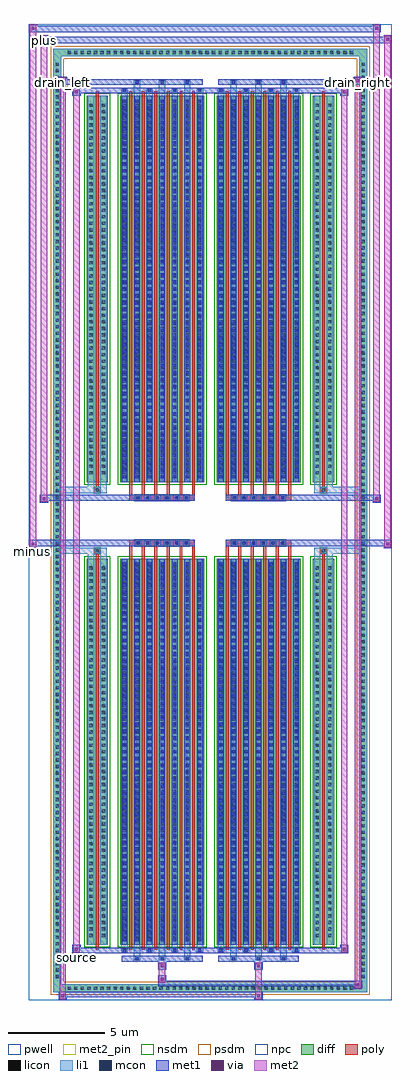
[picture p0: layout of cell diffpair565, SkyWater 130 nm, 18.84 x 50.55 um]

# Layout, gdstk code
import gdstk
lib = gdstk.Library(unit=1e-6, precision=5e-09)
def R(c, l, rs):  # rectangles x0, y0, x1, y1
    for r in rs: c.add(gdstk.rectangle(r[:2], r[2:], *l))
def A(c, l, x, y, w, h, nx, ny, dx, dy):  # array of equal rectangles
    R(c, l, [(x+i*dx, y+j*dy, x+i*dx+w, y+j*dy+h) for i in range(nx) for j in range(ny)])
def P(c, l, *ps):  # polygons
    for p in ps: c.add(gdstk.Polygon(p, *l))
pwell = (64, 44)
diff = (65, 20)
poly = (66, 20)
licon = (66, 44)
li1 = (67, 20)
mcon = (67, 44)
met1 = (68, 20)
via = (68, 44)
met2_pin = (69, 16)
met2 = (69, 20)
nsdm = (93, 44)
psdm = (94, 20)
npc = (95, 20)

diffpair565 = lib.new_cell('diffpair565')
R(diffpair565, pwell, [(-9.4,-24.84,9.4,25.71), (-6.72,-23.03,-0.01,-0.805), (0.01,-23.03,6.72,-0.805), (-6.72,0.805,-0.01,23.03), (0.01,0.805,6.72,23.03)])
A(diffpair565, diff, -7.515, -24.44, 0.41, 0.41, 44, 2, 0.34, 48.47)
A(diffpair565, diff, -8.13, -23.835, 0.41, 0.41, 1, 140, 0, 0.34)
A(diffpair565, diff, 7.72, -23.835, 0.41, 0.41, 1, 140, 0, 0.34)
R(diffpair565, diff, [(-7.515,-24.44,7.515,-24.03), (-8.13,-23.835,-7.72,23.835), (7.72,-23.835,8.13,23.835), (-6.41,-21.985,-5.31,-1.985), (-4.67,-21.985,-0.32,-1.985), (0.32,-21.985,4.67,-1.985), (5.31,-21.985,6.41,-1.985), (-6.41,1.985,-5.31,21.985), (-4.67,1.985,-0.32,21.985), (0.32,1.985,4.67,21.985), (5.31,1.985,6.41,21.985), (-7.515,24.03,7.515,24.44)])
P(diffpair565, diff, [(8.13,24.44),(-8.13,24.44),(-8.13,-24.03),(-7.72,-24.03),(-7.72,24.03),(7.72,24.03),(7.72,-24.03),(-7.72,-24.03),(-8.13,-24.03),(-8.13,-24.44),(8.13,-24.44)])
A(diffpair565, poly, -4.195, -22.235, 0.15, 20.5, 6, 2, 0.65, 23.97)
A(diffpair565, poly, 0.795, -22.235, 0.15, 20.5, 6, 2, 0.65, 23.97)
A(diffpair565, poly, -4.195, -1.735, 0.15, 0.4, 6, 2, 0.65, 3.07)
A(diffpair565, poly, 0.795, -1.735, 0.15, 0.4, 6, 2, 0.65, 3.07)
A(diffpair565, poly, -3.91, -1.335, 0.33, 0.33, 6, 2, 0.5, 2.34)
A(diffpair565, poly, 1.08, -1.335, 0.33, 0.33, 6, 2, 0.5, 2.34)
R(diffpair565, poly, [(-5.935,-22.235,-5.785,-1.735), (5.785,-22.235,5.935,-1.735), (-6.025,-1.735,-5.695,-1.405), (-6.025,-1.735,-5.695,-1.405), (5.695,-1.735,6.025,-1.405), (5.695,-1.735,6.025,-1.405), (-4.195,-1.335,-0.795,-1.005), (0.795,-1.335,4.195,-1.005), (-4.195,1.005,-0.795,1.335), (0.795,1.005,4.195,1.335), (-6.025,1.405,-5.695,1.735), (-6.025,1.405,-5.695,1.735), (5.695,1.405,6.025,1.735), (5.695,1.405,6.025,1.735), (-5.935,1.735,-5.785,22.235), (5.785,1.735,5.935,22.235)])
A(diffpair565, licon, -7.395, -24.32, 0.17, 0.17, 44, 2, 0.34, 48.47)
A(diffpair565, licon, -8.01, -23.715, 0.17, 0.17, 1, 140, 0, 0.34)
A(diffpair565, licon, 7.84, -23.715, 0.17, 0.17, 1, 140, 0, 0.34)
A(diffpair565, licon, -6.27, -21.59, 0.17, 0.17, 1, 57, 0, 0.34)
A(diffpair565, licon, -5.62, -21.59, 0.17, 0.17, 1, 57, 0, 0.34)
A(diffpair565, licon, -4.53, -21.59, 0.17, 0.17, 7, 57, 0.65, 0.34)
A(diffpair565, licon, 0.46, -21.59, 0.17, 0.17, 7, 57, 0.65, 0.34)
A(diffpair565, licon, 5.45, -21.59, 0.17, 0.17, 1, 57, 0, 0.34)
A(diffpair565, licon, 6.1, -21.59, 0.17, 0.17, 1, 57, 0, 0.34)
A(diffpair565, licon, -3.83, -1.255, 0.17, 0.17, 6, 2, 0.5, 2.34)
A(diffpair565, licon, 1.16, -1.255, 0.17, 0.17, 6, 2, 0.5, 2.34)
A(diffpair565, licon, -6.27, 2.38, 0.17, 0.17, 1, 57, 0, 0.34)
A(diffpair565, licon, -5.62, 2.38, 0.17, 0.17, 1, 57, 0, 0.34)
A(diffpair565, licon, -4.53, 2.38, 0.17, 0.17, 7, 57, 0.65, 0.34)
A(diffpair565, licon, 0.46, 2.38, 0.17, 0.17, 7, 57, 0.65, 0.34)
A(diffpair565, licon, 5.45, 2.38, 0.17, 0.17, 1, 57, 0, 0.34)
A(diffpair565, licon, 6.1, 2.38, 0.17, 0.17, 1, 57, 0, 0.34)
R(diffpair565, licon, [(-5.945,-1.655,-5.775,-1.485), (5.775,-1.655,5.945,-1.485), (-5.945,1.485,-5.775,1.655), (5.775,1.485,5.945,1.655)])
A(diffpair565, li1, -7.475, -24.4, 0.33, 0.33, 44, 2, 0.34, 48.47)
A(diffpair565, li1, -8.09, -23.795, 0.33, 0.33, 1, 140, 0, 0.34)
A(diffpair565, li1, 7.76, -23.795, 0.33, 0.33, 1, 140, 0, 0.34)
A(diffpair565, li1, -3.96, -22.79, 0.33, 0.805, 3, 2, 1.3, 44.775)
A(diffpair565, li1, -3.88, -22.79, 0.17, 0.17, 3, 2, 1.3, 45.41)
A(diffpair565, li1, 1.03, -22.79, 0.33, 0.805, 3, 2, 1.3, 44.775)
A(diffpair565, li1, 1.11, -22.79, 0.17, 0.17, 3, 2, 1.3, 45.41)
A(diffpair565, li1, -4.61, -22.36, 0.33, 0.375, 4, 2, 1.3, 44.345)
A(diffpair565, li1, -4.53, -22.36, 0.17, 0.17, 4, 2, 1.3, 44.55)
A(diffpair565, li1, 0.38, -22.36, 0.33, 0.375, 4, 2, 1.3, 44.345)
A(diffpair565, li1, 0.46, -22.36, 0.17, 0.17, 4, 2, 1.3, 44.55)
A(diffpair565, li1, -4.61, -21.985, 0.33, 20, 7, 2, 0.65, 23.97)
A(diffpair565, li1, 0.38, -21.985, 0.33, 20, 7, 2, 0.65, 23.97)
A(diffpair565, li1, -4.53, -21.79, 0.17, 0.17, 7, 55, 0.65, 0.36)
A(diffpair565, li1, -4.53, -21.79, 0.17, 19.61, 7, 2, 0.65, 23.97)
A(diffpair565, li1, 0.46, -21.79, 0.17, 0.17, 7, 55, 0.65, 0.36)
A(diffpair565, li1, 0.46, -21.79, 0.17, 19.61, 7, 2, 0.65, 23.97)
A(diffpair565, li1, -6.35, -21.67, 0.33, 0.33, 1, 57, 0, 0.34)
A(diffpair565, li1, -5.7, -21.67, 0.33, 0.33, 1, 57, 0, 0.34)
A(diffpair565, li1, -4.61, -21.67, 0.33, 0.33, 7, 57, 0.65, 0.34)
A(diffpair565, li1, 0.38, -21.67, 0.33, 0.33, 7, 57, 0.65, 0.34)
A(diffpair565, li1, 5.37, -21.67, 0.33, 0.33, 1, 57, 0, 0.34)
A(diffpair565, li1, 6.02, -21.67, 0.33, 0.33, 1, 57, 0, 0.34)
A(diffpair565, li1, -3.91, -1.335, 0.33, 0.33, 6, 2, 0.5, 2.34)
A(diffpair565, li1, 1.08, -1.335, 0.33, 0.33, 6, 2, 0.5, 2.34)
A(diffpair565, li1, -4.53, 2.18, 0.17, 0.17, 7, 55, 0.65, 0.36)
A(diffpair565, li1, 0.46, 2.18, 0.17, 0.17, 7, 55, 0.65, 0.36)
A(diffpair565, li1, -6.35, 2.3, 0.33, 0.33, 1, 57, 0, 0.34)
A(diffpair565, li1, -5.7, 2.3, 0.33, 0.33, 1, 57, 0, 0.34)
A(diffpair565, li1, -4.61, 2.3, 0.33, 0.33, 7, 57, 0.65, 0.34)
A(diffpair565, li1, 0.38, 2.3, 0.33, 0.33, 7, 57, 0.65, 0.34)
A(diffpair565, li1, 5.37, 2.3, 0.33, 0.33, 1, 57, 0, 0.34)
A(diffpair565, li1, 6.02, 2.3, 0.33, 0.33, 1, 57, 0, 0.34)
R(diffpair565, li1, [(-8.13,-24.44,-7.72,-24.03), (-8.13,-24.44,-7.72,-24.03), (-7.72,-24.44,7.72,-24.03), (7.72,-24.44,8.13,-24.03), (7.72,-24.44,8.13,-24.03), (-8.13,-24.03,-7.72,24.03), (7.72,-24.03,8.13,24.03), (-6.35,-21.985,-6.02,-1.985), (-5.7,-21.985,-5.37,-1.985), (5.37,-21.985,5.7,-1.985), (6.02,-21.985,6.35,-1.985), (-6.35,-1.985,-6.02,-1.405), (-5.7,-1.985,-5.37,-1.405), (5.37,-1.985,5.7,-1.405), (6.02,-1.985,6.35,-1.405), (-8.13,-1.735,-6.025,-1.405), (-6.35,-1.735,-6.025,-1.405), (-6.025,-1.735,-5.695,-1.405), (-5.695,-1.735,-5.37,-1.405), (5.37,-1.735,5.695,-1.405), (5.695,-1.735,6.025,-1.405), (5.695,-1.735,8.13,-1.405), (6.025,-1.735,6.35,-1.405), (-8.13,1.405,-6.025,1.735), (-6.35,1.405,-6.025,1.735), (-6.35,1.405,-6.02,1.985), (-6.025,1.405,-5.695,1.735), (-5.7,1.405,-5.37,1.985), (-5.695,1.405,-5.37,1.735), (5.37,1.405,5.695,1.735), (5.37,1.405,5.7,1.985), (5.695,1.405,6.025,1.735), (5.695,1.405,8.13,1.735), (6.02,1.405,6.35,1.985), (6.025,1.405,6.35,1.735), (-6.35,1.985,-6.02,21.985), (-5.7,1.985,-5.37,21.985), (5.37,1.985,5.7,21.985), (6.02,1.985,6.35,21.985), (-8.13,24.03,-7.72,24.44), (-8.13,24.03,-7.72,24.44), (-7.72,24.03,7.72,24.44), (7.72,24.03,8.13,24.44), (7.72,24.03,8.13,24.44)])
A(diffpair565, mcon, -3.88, -22.79, 0.17, 0.17, 3, 2, 1.3, 45.41)
A(diffpair565, mcon, 1.11, -22.79, 0.17, 0.17, 3, 2, 1.3, 45.41)
A(diffpair565, mcon, -4.53, -22.36, 0.17, 0.17, 4, 2, 1.3, 44.55)
A(diffpair565, mcon, 0.46, -22.36, 0.17, 0.17, 4, 2, 1.3, 44.55)
A(diffpair565, mcon, -4.53, -21.79, 0.17, 0.17, 7, 55, 0.65, 0.36)
A(diffpair565, mcon, 0.46, -21.79, 0.17, 0.17, 7, 55, 0.65, 0.36)
A(diffpair565, mcon, -3.83, -1.255, 0.17, 0.17, 6, 2, 0.5, 2.34)
A(diffpair565, mcon, 1.16, -1.255, 0.17, 0.17, 6, 2, 0.5, 2.34)
A(diffpair565, mcon, -4.53, 2.18, 0.17, 0.17, 7, 55, 0.65, 0.36)
A(diffpair565, mcon, 0.46, 2.18, 0.17, 0.17, 7, 55, 0.65, 0.36)
A(diffpair565, met1, -3.94, -22.85, 0.29, 0.29, 3, 2, 1.3, 45.41)
A(diffpair565, met1, 1.05, -22.85, 0.29, 0.29, 3, 2, 1.3, 45.41)
A(diffpair565, met1, -4.59, -22.42, 0.29, 0.29, 4, 2, 1.3, 44.55)
A(diffpair565, met1, 0.4, -22.42, 0.29, 0.29, 4, 2, 1.3, 44.55)
A(diffpair565, met1, -4.59, -21.985, 0.29, 20, 7, 2, 0.65, 23.97)
A(diffpair565, met1, 0.4, -21.985, 0.29, 20, 7, 2, 0.65, 23.97)
A(diffpair565, met1, -4.59, -21.85, 0.29, 0.29, 7, 55, 0.65, 0.36)
A(diffpair565, met1, 0.4, -21.85, 0.29, 0.29, 7, 55, 0.65, 0.36)
A(diffpair565, met1, -3.89, -1.315, 0.29, 0.29, 6, 2, 0.5, 2.34)
A(diffpair565, met1, 1.1, -1.315, 0.29, 0.29, 6, 2, 0.5, 2.34)
A(diffpair565, met1, -4.59, 2.12, 0.29, 0.29, 7, 55, 0.65, 0.36)
A(diffpair565, met1, 0.4, 2.12, 0.29, 0.29, 7, 55, 0.65, 0.36)
R(diffpair565, met1, [(-7.86,-24.84,-7.43,-24.41), (2.28,-24.84,2.71,-24.41), (-7.86,-24.7,2.71,-24.41), (7.43,-24.27,7.86,-23.84), (-2.71,-24.13,7.86,-23.84), (-2.71,-23.99,-2.28,-23.56), (-2.71,-23.28,-2.28,-22.85), (2.28,-23.28,2.71,-22.85), (-4.59,-22.85,-0.4,-22.56), (0.4,-22.85,4.59,-22.56), (-7.15,-22.42,-6.72,-21.99), (-7.15,-22.42,-4.59,-22.13), (-4.59,-22.42,-0.4,-22.13), (-0.4,-22.42,0.4,-22.13), (0.4,-22.42,4.59,-22.13), (4.59,-22.42,7.15,-22.13), (6.72,-22.42,7.15,-21.99), (-9.4,-1.435,-8.97,-1.005), (8.97,-1.435,9.4,-1.005), (-9.4,-1.335,-0.795,-1.005), (-4.195,-1.335,-0.795,-1.005), (0.795,-1.335,4.195,-1.005), (0.795,-1.335,9.4,-1.005), (-8.83,0.905,-8.4,1.335), (8.4,0.905,8.83,1.335), (-8.83,1.005,-4.195,1.335), (-4.195,1.005,-0.795,1.335), (0.795,1.005,4.195,1.335), (4.195,1.005,8.83,1.335), (-7.15,21.99,-6.72,22.42), (6.72,21.99,7.15,22.42), (-7.15,22.13,-4.59,22.42), (-4.59,22.13,-0.4,22.42), (-0.4,22.13,0.4,22.42), (0.4,22.13,4.59,22.42), (4.59,22.13,7.15,22.42), (-7.86,22.56,-7.43,22.99), (-7.86,22.56,-4.59,22.85), (-4.59,22.56,-0.4,22.85), (0.4,22.56,4.59,22.85), (4.59,22.56,7.86,22.85), (7.43,22.56,7.86,22.99), (-8.83,24.71,-8.4,25.14), (-8.83,24.71,-6.72,25.04), (-6.72,24.71,6.72,25.04), (6.72,24.71,9.4,25.04), (8.97,24.71,9.4,25.14), (-9.4,25.28,-8.97,25.71), (-9.4,25.28,-6.72,25.61), (-6.72,25.28,6.72,25.61), (6.72,25.28,8.83,25.61), (8.4,25.28,8.83,25.71)])
R(diffpair565, via, [(-7.72,-24.7,-7.57,-24.55), (2.42,-24.7,2.57,-24.55), (7.57,-24.13,7.72,-23.98), (-2.57,-23.85,-2.42,-23.7), (-2.57,-23.14,-2.42,-22.99), (2.42,-23.14,2.57,-22.99), (-7.01,-22.28,-6.86,-22.13), (6.86,-22.28,7.01,-22.13), (-9.26,-1.295,-9.11,-1.145), (9.11,-1.295,9.26,-1.145), (-8.69,1.045,-8.54,1.195), (8.54,1.045,8.69,1.195), (-7.01,22.13,-6.86,22.28), (6.86,22.13,7.01,22.28), (-7.72,22.7,-7.57,22.85), (7.57,22.7,7.72,22.85), (-8.69,24.85,-8.54,25), (9.11,24.85,9.26,25), (-9.26,25.42,-9.11,25.57), (8.54,25.42,8.69,25.57)])
R(diffpair565, met2_pin, [(-7.185,-22.87,-6.685,-22.37), (-9.435,-1.885,-8.935,-1.385), (-7.895,22.44,-7.395,22.94), (7.395,22.44,7.895,22.94), (-8.865,24.59,-8.365,25.09)])
R(diffpair565, met2, [(-7.81,-24.79,-7.48,-24.46), (-7.81,-24.79,-7.48,22.94), (2.33,-24.79,2.66,-24.46), (2.33,-24.46,2.66,-23.23), (7.48,-24.22,7.81,-23.89), (7.48,-24.22,7.81,22.94), (-2.66,-23.94,-2.33,-23.61), (-2.66,-23.61,-2.33,-23.23), (-2.66,-23.23,-2.33,-22.9), (2.33,-23.23,2.66,-22.9), (-7.1,-22.37,-6.77,-22.04), (-7.1,-22.37,-6.77,22.37), (6.77,-22.37,7.1,-22.04), (6.77,-22.37,7.1,22.37), (-9.35,-1.385,-9.02,-1.055), (-9.35,-1.385,-9.02,25.66), (9.02,-1.385,9.35,-1.055), (9.02,-1.385,9.35,25.09), (-8.78,0.955,-8.45,1.285), (-8.78,0.955,-8.45,25.09), (8.45,0.955,8.78,1.285), (8.45,0.955,8.78,25.66), (-7.1,22.04,-6.77,22.37), (6.77,22.04,7.1,22.37), (-7.81,22.61,-7.48,22.94), (7.48,22.61,7.81,22.94), (-8.78,24.76,-8.45,25.09), (9.02,24.76,9.35,25.09), (-9.35,25.33,-9.02,25.66), (8.45,25.33,8.78,25.66)])
P(diffpair565, met2, [(9.35,-1.385),(9.35,-1.385),(9.35,-1.055),(9.35,-1.055)],
  [(9.35,24.76),(9.35,24.76),(9.35,25.09),(9.35,25.09)],
  [(-9.02,-1.385),(-9.02,-1.385),(-9.02,-1.055),(-9.02,-1.055)],
  [(-9.02,25.33),(-9.02,25.33),(-9.02,25.66),(-9.02,25.66)],
  [(8.78,0.955),(8.78,0.955),(8.78,1.285),(8.78,1.285)],
  [(8.78,25.33),(8.78,25.33),(8.78,25.66),(8.78,25.66)],
  [(-8.45,0.955),(-8.45,0.955),(-8.45,1.285),(-8.45,1.285)],
  [(-8.45,24.76),(-8.45,24.76),(-8.45,25.09),(-8.45,25.09)],
  [(-7.48,-24.79),(-7.48,-24.79),(-7.48,-24.46),(-7.48,-24.46)],
  [(-7.48,22.61),(-7.48,22.61),(-7.48,22.94),(-7.48,22.94)],
  [(7.81,-24.22),(7.81,-24.22),(7.81,-23.89),(7.81,-23.89)],
  [(7.81,22.61),(7.81,22.61),(7.81,22.94),(7.81,22.94)],
  [(-6.77,-22.37),(-6.77,-22.37),(-6.77,-22.04),(-6.77,-22.04)],
  [(-6.77,22.04),(-6.77,22.04),(-6.77,22.37),(-6.77,22.37)],
  [(7.1,-22.37),(7.1,-22.37),(7.1,-22.04),(7.1,-22.04)],
  [(7.1,22.04),(7.1,22.04),(7.1,22.37),(7.1,22.37)])
R(diffpair565, nsdm, [(-6.54,-22.115,-5.18,-1.855), (-4.8,-22.115,-0.19,-1.855), (0.19,-22.115,4.8,-1.855), (5.18,-22.115,6.54,-1.855), (-6.54,1.855,-5.18,22.115), (-4.8,1.855,-0.19,22.115), (0.19,1.855,4.8,22.115), (5.18,1.855,6.54,22.115)])
P(diffpair565, psdm, [(8.26,24.57),(-8.26,24.57),(-8.26,-23.9),(-7.59,-23.9),(-7.59,23.9),(7.59,23.9),(7.59,-23.9),(-7.59,-23.9),(-8.26,-23.9),(-8.26,-24.57),(8.26,-24.57)])
A(diffpair565, npc, -3.93, -1.355, 0.37, 0.37, 6, 2, 0.5, 2.34)
A(diffpair565, npc, 1.06, -1.355, 0.37, 0.37, 6, 2, 0.5, 2.34)
R(diffpair565, npc, [(-6.045,-1.755,-5.675,-1.385), (5.675,-1.755,6.045,-1.385), (-3.93,-1.355,-3.06,-0.985), (-3.93,-1.355,-3.06,-0.985), (-3.43,-1.355,-2.56,-0.985), (-3.43,-1.355,-2.56,-0.985), (-2.93,-1.355,-2.06,-0.985), (-2.93,-1.355,-2.06,-0.985), (-2.43,-1.355,-1.56,-0.985), (-2.43,-1.355,-1.56,-0.985), (-1.93,-1.355,-1.06,-0.985), (-1.93,-1.355,-1.06,-0.985), (1.06,-1.355,1.93,-0.985), (1.06,-1.355,1.93,-0.985), (1.56,-1.355,2.43,-0.985), (1.56,-1.355,2.43,-0.985), (2.06,-1.355,2.93,-0.985), (2.06,-1.355,2.93,-0.985), (2.56,-1.355,3.43,-0.985), (2.56,-1.355,3.43,-0.985), (3.06,-1.355,3.93,-0.985), (3.06,-1.355,3.93,-0.985), (-3.93,0.985,-3.06,1.355), (-3.93,0.985,-3.06,1.355), (-3.43,0.985,-2.56,1.355), (-3.43,0.985,-2.56,1.355), (-2.93,0.985,-2.06,1.355), (-2.93,0.985,-2.06,1.355), (-2.43,0.985,-1.56,1.355), (-2.43,0.985,-1.56,1.355), (-1.93,0.985,-1.06,1.355), (-1.93,0.985,-1.06,1.355), (1.06,0.985,1.93,1.355), (1.06,0.985,1.93,1.355), (1.56,0.985,2.43,1.355), (1.56,0.985,2.43,1.355), (2.06,0.985,2.93,1.355), (2.06,0.985,2.93,1.355), (2.56,0.985,3.43,1.355), (2.56,0.985,3.43,1.355), (3.06,0.985,3.93,1.355), (3.06,0.985,3.93,1.355), (-6.045,1.385,-5.675,1.755), (5.675,1.385,6.045,1.755)])
diffpair565.add(gdstk.Label('minus', (-9.185,-1.635), layer=69, texttype=5))
diffpair565.add(gdstk.Label('drain_right', (7.645,22.69), layer=69, texttype=5))
diffpair565.add(gdstk.Label('drain_left', (-7.645,22.69), layer=69, texttype=5))
diffpair565.add(gdstk.Label('source', (-6.935,-22.62), layer=69, texttype=5))
diffpair565.add(gdstk.Label('plus', (-8.615,24.84), layer=69, texttype=5))

lib.write_gds('diffpair565.gds')
